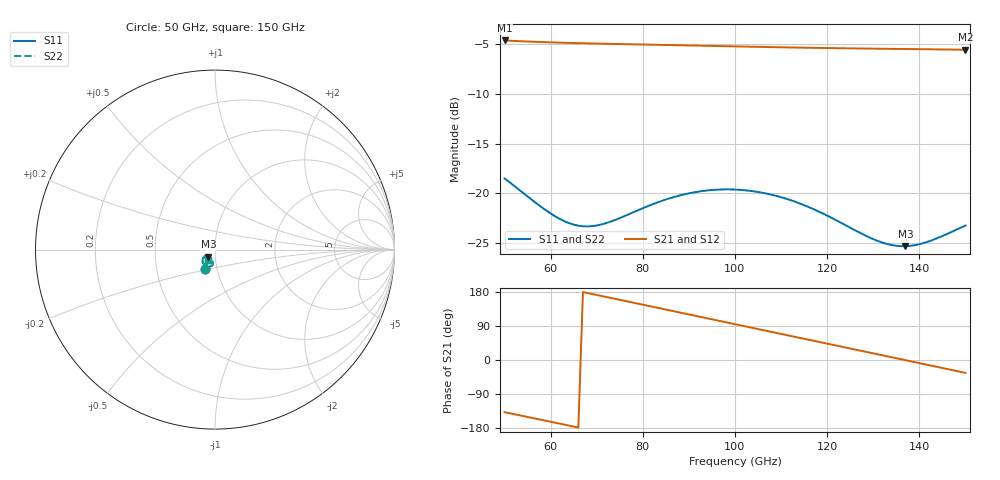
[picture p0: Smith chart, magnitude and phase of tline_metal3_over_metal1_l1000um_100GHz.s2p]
#  GHZ S DB R 50
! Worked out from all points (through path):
!   101 points, 50 GHz to 150 GHz, reference 50 ohm
!   highest |S21| = -4.67 dB at 50 GHz (marker M1); lowest = -5.6 dB at 150 GHz (marker M2)
!   group delay of S21, straight-line fit = 7.13 ps
!   lowest |S11| = -25.3 dB at 137 GHz (marker M3), VSWR 1.12, Z = 46.3 - j3.72 ohm
!   |S11| at or under -10 dB: start of sweep to end of sweep
!   |S22| runs from -25.4 to -18.5 dB; largest |S21 - S12| = 6.4e-14
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50  -18.50 -117.0  -4.67 -137.7  -4.67 -137.7  -18.52 -117.0
55  -20.31 -119.8  -4.78 -150.4  -4.78 -150.4  -20.32 -119.8
59  -21.70 -118.6  -4.85 -160.5  -4.85 -160.5  -21.71 -118.7
63  -22.79 -114.2  -4.91 -170.6  -4.91 -170.6  -22.80 -114.3
67  -23.29 -107.7  -4.95 179.2  -4.95 179.2  -23.30 -107.9
71  -23.11 -101.7  -5.00 169.0  -5.00 169.0  -23.13 -101.9
75  -22.47 -98.3  -5.03 158.8  -5.03 158.8  -22.50 -98.6
79  -21.68 -97.9  -5.07 148.5  -5.07 148.5  -21.71 -98.2
84  -20.77 -100.9  -5.12 135.7  -5.12 135.7  -20.81 -101.2
92  -19.82 -110.2  -5.19 115.1  -5.19 115.1  -19.87 -110.5
96  -19.63 -115.9  -5.23 104.8  -5.23 104.8  -19.68 -116.3
100  -19.62 -121.8  -5.27 94.5  -5.27 94.5  -19.67 -122.2
104  -19.79 -127.7  -5.30 84.2  -5.30 84.2  -19.85 -128.2
108  -20.14 -133.3  -5.34 73.9  -5.34 73.9  -20.20 -133.8
112  -20.67 -138.3  -5.37 63.7  -5.37 63.7  -20.73 -138.9
117  -21.57 -143.3  -5.41 50.9  -5.41 50.9  -21.64 -143.9
122  -22.70 -146.0  -5.45 38.1  -5.45 38.1  -22.78 -146.6
126  -23.68 -145.8  -5.47 27.8  -5.47 27.8  -23.76 -146.4
134  -25.17 -137.5  -5.51 7.2  -5.51 7.2  -25.26 -138.3
137  -25.29 -132.7  -5.53 -0.5  -5.53 -0.5  -25.38 -133.4
143  -24.65 -124.5  -5.56 -15.9  -5.56 -15.9  -24.75 -125.3
150  -23.22 -121.8  -5.60 -34.0  -5.60 -34.0  -23.33 -122.6
